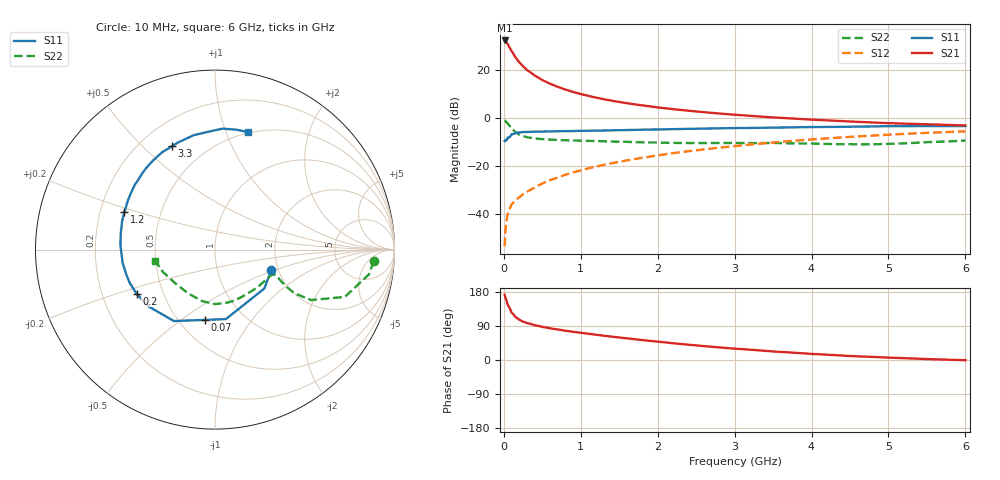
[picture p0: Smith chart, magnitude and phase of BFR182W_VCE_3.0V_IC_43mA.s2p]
! Infineon Technologies  Discrete & RF Semiconductors
! BFR182W
! VCE =  3.0 V,  IC =  43 mA
! Common Emitter S-Parameters:  Jan 2017
# GHz  S  MA  R  50
!  f  S11  S21  S12  S22
! GHz  MAG  ANG  MAG  ANG  MAG  ANG  MAG  ANG
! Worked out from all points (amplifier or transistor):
!   77 points, 10 MHz to 6 GHz, reference 50 ohm
!   highest |S21| = 32.1 dB at 10 MHz (marker M1)
!   |S21| within 3 dB of that: start of sweep to 75.98 MHz
!   unconditionally stable (mu >= 1): start of sweep to 11.19 MHz; 295.9 MHz to 2.595 GHz
!   at 130 MHz: K = 0.68, MSG = 30.6 dB, |S12| = -34.8 dB
!   at 2.2 GHz: K = 1.04, MAG = 7.9 dB, |S12| = -14.6 dB
!   at 6 GHz: K = 0.96, MSG = 1.2 dB, |S12| = -5.5 dB
!   S11 on the Smith chart (normalised r, x): 10 MHz: 1.84, -0.47; 70 MHz: 0.67, -0.62; 200 MHz: 0.35, -0.23; 1.2 GHz: 0.30, +0.18; 3.3 GHz: 0.33, +0.62; 6 GHz: 0.49, +1.19
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0.01  0.334 -19.8  40.39 172.2  0.0022 74.7  0.8863 -4.2
0.02  0.35 -38.3  40.03 165.0  0.0045 78.7  0.8696 -9.1
0.05  0.3919 -81.1  34 145.6  0.0101 64.6  0.7699 -20.0
0.07  0.3954 -98.0  29.77 139.0  0.0124 62.2  0.7024 -22.6
0.1  0.4592 -119.9  24.46 125.2  0.016 59.9  0.6047 -27.7
0.15  0.4866 -139.3  18.24 113.7  0.0195 58.7  0.5067 -28.8
0.2  0.5015 -150.7  14.31 106.5  0.0227 60.2  0.4528 -27.6
0.25  0.5096 -158.3  11.76 101.2  0.0263 61.8  0.4207 -26.2
0.3  0.5133 -163.9  9.91 97.6  0.0294 64.1  0.3991 -25.0
0.4  0.52 -172.0  7.576 91.8  0.036 67.5  0.3766 -23.4
0.5  0.5219 -177.9  6.105 87.4  0.0438 69.8  0.3634 -22.9
0.7  0.5295 173.6  4.417 80.5  0.0582 73.3  0.3497 -23.5
0.9  0.5356 166.5  3.459 74.5  0.0742 73.7  0.3416 -25.7
1.1  0.5432 160.5  2.867 69.2  0.0904 74.5  0.3348 -28.6
1.2  0.5467 157.6  2.638 66.6  0.0983 74.1  0.3316 -30.2
1.6  0.5619 147.6  2.022 57.1  0.1321 73.0  0.3194 -38.2
2.1  0.581 136.2  1.588 46.4  0.1768 70.3  0.306 -51.0
3.1  0.6187 116.5  1.137 28.6  0.2708 61.8  0.3023 -79.3
3.3  0.6236 112.7  1.08 25.7  0.2902 59.8  0.3017 -84.6
4.1  0.6495 99.0  0.908 15.1  0.3679 51.3  0.2918 -107.4
5.1  0.6753 85.0  0.772 5.6  0.4583 39.5  0.2934 -143.5
6  0.6798 74.4  0.701 -0.5  0.5284 28.8  0.3398 -169.7
